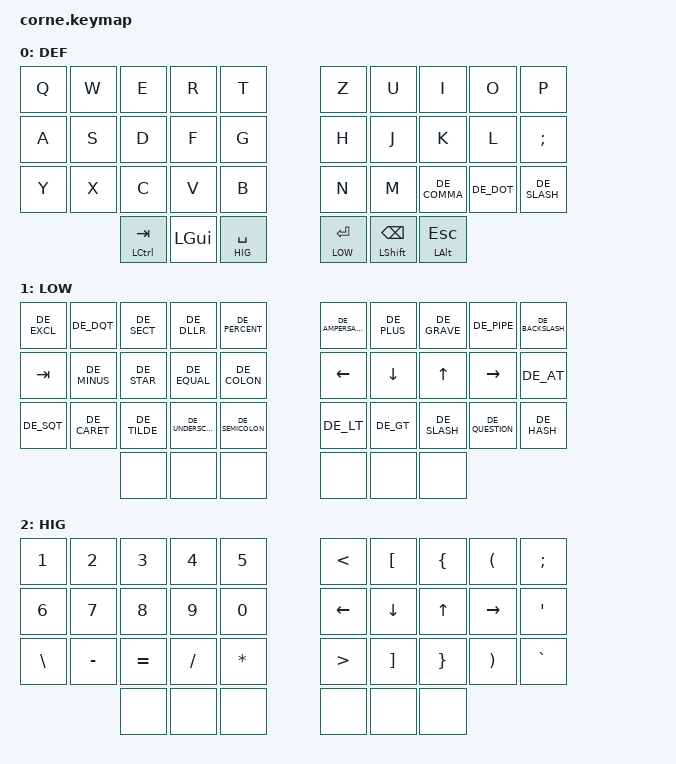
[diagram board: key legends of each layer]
#include <behaviors.dtsi>
#include <dt-bindings/zmk/keys.h>
#include <dt-bindings/zmk/hid_usage.h>
#include <dt-bindings/zmk/hid_usage_pages.h>
#include <dt-bindings/zmk/modifiers.h>

#define ___ &none
#define DEF 0
#define LOW 1
#define HIG 2

#define DE_ESCAPE_CHARACTER (LC(ZMK_HID_USAGE(HID_USAGE_KEY, HID_USAGE_KEY_KEYBOARD_LEFT_BRACKET_AND_LEFT_BRACE)))

#define DE_FILE_SEPARATOR (LC(ZMK_HID_USAGE(HID_USAGE_KEY, HID_USAGE_KEY_KEYBOARD_BACKSLASH_AND_PIPE)))

#define DE_GROUP_SEPARATOR (LC(ZMK_HID_USAGE(HID_USAGE_KEY, HID_USAGE_KEY_KEYBOARD_RIGHT_BRACKET_AND_RIGHT_BRACE)))

#define DE_SPACE (ZMK_HID_USAGE(HID_USAGE_KEY, HID_USAGE_KEY_KEYBOARD_SPACEBAR))

/* ! */
#define DE_EXCLAMATION (LS(ZMK_HID_USAGE(HID_USAGE_KEY, HID_USAGE_KEY_KEYBOARD_1_AND_EXCLAMATION)))
#define DE_EXCL (DE_EXCLAMATION)

/* " */
#define DE_DOUBLE_QUOTES (LS(ZMK_HID_USAGE(HID_USAGE_KEY, HID_USAGE_KEY_KEYBOARD_2_AND_AT)))
#define DE_DQT (DE_DOUBLE_QUOTES)

/* # */
#define DE_HASH (ZMK_HID_USAGE(HID_USAGE_KEY, HID_USAGE_KEY_KEYBOARD_BACKSLASH_AND_PIPE))
#define DE_POUND (DE_HASH)

/* $ */
#define DE_DOLLAR (LS(ZMK_HID_USAGE(HID_USAGE_KEY, HID_USAGE_KEY_KEYBOARD_4_AND_DOLLAR)))
#define DE_DLLR (DE_DOLLAR)

/* % */
#define DE_PERCENT (LS(ZMK_HID_USAGE(HID_USAGE_KEY, HID_USAGE_KEY_KEYBOARD_5_AND_PERCENT)))
#define DE_PRCNT (DE_PERCENT)

/* & */
#define DE_AMPERSAND (LS(ZMK_HID_USAGE(HID_USAGE_KEY, HID_USAGE_KEY_KEYBOARD_6_AND_CARET)))
#define DE_AMPS (DE_AMPERSAND)

/* ' */
#define DE_SINGLE_QUOTE (LS(ZMK_HID_USAGE(HID_USAGE_KEY, HID_USAGE_KEY_KEYBOARD_BACKSLASH_AND_PIPE)))
#define DE_SQT (DE_SINGLE_QUOTE)
#define DE_APOSTROPHE (DE_SINGLE_QUOTE)
#define DE_APOS (DE_SINGLE_QUOTE)

/* ( */
#define DE_LEFT_PARENTHESIS (LS(ZMK_HID_USAGE(HID_USAGE_KEY, HID_USAGE_KEY_KEYBOARD_8_AND_ASTERISK)))
#define DE_LPAR (DE_LEFT_PARENTHESIS)

/* ) */
#define DE_RIGHT_PARENTHESIS (LS(ZMK_HID_USAGE(HID_USAGE_KEY, HID_USAGE_KEY_KEYBOARD_9_AND_LEFT_PARENTHESIS)))
#define DE_RPAR (DE_RIGHT_PARENTHESIS)

/* * */
#define DE_ASTERISK (LS(ZMK_HID_USAGE(HID_USAGE_KEY, HID_USAGE_KEY_KEYBOARD_RIGHT_BRACKET_AND_RIGHT_BRACE)))
#define DE_ASTRK (DE_ASTERISK)
#define DE_STAR (DE_ASTERISK)

/* + */
#define DE_PLUS (ZMK_HID_USAGE(HID_USAGE_KEY, HID_USAGE_KEY_KEYBOARD_RIGHT_BRACKET_AND_RIGHT_BRACE))

/* , */
#define DE_COMMA (ZMK_HID_USAGE(HID_USAGE_KEY, HID_USAGE_KEY_KEYBOARD_COMMA_AND_LESS_THAN))

/* - */
#define DE_MINUS (ZMK_HID_USAGE(HID_USAGE_KEY, HID_USAGE_KEY_KEYBOARD_SLASH_AND_QUESTION_MARK))

/* . */
#define DE_PERIOD (ZMK_HID_USAGE(HID_USAGE_KEY, HID_USAGE_KEY_KEYBOARD_PERIOD_AND_GREATER_THAN))
#define DE_DOT (DE_PERIOD)

/* / */
#define DE_SLASH (LS(ZMK_HID_USAGE(HID_USAGE_KEY, HID_USAGE_KEY_KEYBOARD_7_AND_AMPERSAND)))
#define DE_FSLH (DE_SLASH)

/* 0 */
#define DE_N0 (ZMK_HID_USAGE(HID_USAGE_KEY, HID_USAGE_KEY_KEYBOARD_0_AND_RIGHT_PARENTHESIS))

/* 1 */
#define DE_N1 (ZMK_HID_USAGE(HID_USAGE_KEY, HID_USAGE_KEY_KEYBOARD_1_AND_EXCLAMATION))

/* 2 */
#define DE_N2 (ZMK_HID_USAGE(HID_USAGE_KEY, HID_USAGE_KEY_KEYBOARD_2_AND_AT))

/* 3 */
#define DE_N3 (ZMK_HID_USAGE(HID_USAGE_KEY, HID_USAGE_KEY_KEYBOARD_3_AND_HASH))

/* 4 */
#define DE_N4 (ZMK_HID_USAGE(HID_USAGE_KEY, HID_USAGE_KEY_KEYBOARD_4_AND_DOLLAR))

/* 5 */
#define DE_N5 (ZMK_HID_USAGE(HID_USAGE_KEY, HID_USAGE_KEY_KEYBOARD_5_AND_PERCENT))

/* 6 */
#define DE_N6 (ZMK_HID_USAGE(HID_USAGE_KEY, HID_USAGE_KEY_KEYBOARD_6_AND_CARET))

/* 7 */
#define DE_N7 (ZMK_HID_USAGE(HID_USAGE_KEY, HID_USAGE_KEY_KEYBOARD_7_AND_AMPERSAND))

/* 8 */
#define DE_N8 (ZMK_HID_USAGE(HID_USAGE_KEY, HID_USAGE_KEY_KEYBOARD_8_AND_ASTERISK))

/* 9 */
#define DE_N9 (ZMK_HID_USAGE(HID_USAGE_KEY, HID_USAGE_KEY_KEYBOARD_9_AND_LEFT_PARENTHESIS))

/* : */
#define DE_COLON (LS(ZMK_HID_USAGE(HID_USAGE_KEY, HID_USAGE_KEY_KEYBOARD_PERIOD_AND_GREATER_THAN)))

/* ; */
#define DE_SEMICOLON (LS(ZMK_HID_USAGE(HID_USAGE_KEY, HID_USAGE_KEY_KEYBOARD_COMMA_AND_LESS_THAN)))
#define DE_SEMI (DE_SEMICOLON)

/* < */
#define DE_LESS_THAN (ZMK_HID_USAGE(HID_USAGE_KEY, HID_USAGE_KEY_KEYBOARD_NON_US_BACKSLASH_AND_PIPE))
#define DE_LT (DE_LESS_THAN)

/* = */
#define DE_EQUAL (LS(ZMK_HID_USAGE(HID_USAGE_KEY, HID_USAGE_KEY_KEYBOARD_0_AND_RIGHT_PARENTHESIS)))

/* > */
#define DE_GREATER_THAN (LS(ZMK_HID_USAGE(HID_USAGE_KEY, HID_USAGE_KEY_KEYBOARD_NON_US_BACKSLASH_AND_PIPE)))
#define DE_GT (DE_GREATER_THAN)

/* ? */
#define DE_QUESTION (LS(ZMK_HID_USAGE(HID_USAGE_KEY, HID_USAGE_KEY_KEYBOARD_MINUS_AND_UNDERSCORE)))
#define DE_QMARK (DE_QUESTION)

/* @ */
#define DE_AT_SIGN (RA(ZMK_HID_USAGE(HID_USAGE_KEY, HID_USAGE_KEY_KEYBOARD_Q)))
#define DE_AT (DE_AT_SIGN)

/* [ */
#define DE_LEFT_BRACKET (RA(ZMK_HID_USAGE(HID_USAGE_KEY, HID_USAGE_KEY_KEYBOARD_8_AND_ASTERISK)))
#define DE_LBKT (DE_LEFT_BRACKET)

/* \ */
#define DE_BACKSLASH (RA(ZMK_HID_USAGE(HID_USAGE_KEY, HID_USAGE_KEY_KEYBOARD_MINUS_AND_UNDERSCORE)))
#define DE_BSLH (DE_BACKSLASH)

/* ] */
#define DE_RIGHT_BRACKET (RA(ZMK_HID_USAGE(HID_USAGE_KEY, HID_USAGE_KEY_KEYBOARD_9_AND_LEFT_PARENTHESIS)))
#define DE_RBKT (DE_RIGHT_BRACKET)

/* ^ */
#define DE_CARET (ZMK_HID_USAGE(HID_USAGE_KEY, HID_USAGE_KEY_KEYBOARD_GRAVE_ACCENT_AND_TILDE))

/* _ */
#define DE_UNDERSCORE (LS(ZMK_HID_USAGE(HID_USAGE_KEY, HID_USAGE_KEY_KEYBOARD_SLASH_AND_QUESTION_MARK)))
#define DE_UNDER (DE_UNDERSCORE)

/* ` */
#define DE_GRAVE (LS(ZMK_HID_USAGE(HID_USAGE_KEY, HID_USAGE_KEY_KEYBOARD_EQUAL_AND_PLUS)))

/* a */
#define DE_A (ZMK_HID_USAGE(HID_USAGE_KEY, HID_USAGE_KEY_KEYBOARD_A))

/* b */
#define DE_B (ZMK_HID_USAGE(HID_USAGE_KEY, HID_USAGE_KEY_KEYBOARD_B))

/* c */
#define DE_C (ZMK_HID_USAGE(HID_USAGE_KEY, HID_USAGE_KEY_KEYBOARD_C))

/* d */
#define DE_D (ZMK_HID_USAGE(HID_USAGE_KEY, HID_USAGE_KEY_KEYBOARD_D))

/* e */
#define DE_E (ZMK_HID_USAGE(HID_USAGE_KEY, HID_USAGE_KEY_KEYBOARD_E))

/* f */
#define DE_F (ZMK_HID_USAGE(HID_USAGE_KEY, HID_USAGE_KEY_KEYBOARD_F))

/* g */
#define DE_G (ZMK_HID_USAGE(HID_USAGE_KEY, HID_USAGE_KEY_KEYBOARD_G))

/* h */
#define DE_H (ZMK_HID_USAGE(HID_USAGE_KEY, HID_USAGE_KEY_KEYBOARD_H))

/* i */
#define DE_I (ZMK_HID_USAGE(HID_USAGE_KEY, HID_USAGE_KEY_KEYBOARD_I))

/* j */
#define DE_J (ZMK_HID_USAGE(HID_USAGE_KEY, HID_USAGE_KEY_KEYBOARD_J))

/* k */
#define DE_K (ZMK_HID_USAGE(HID_USAGE_KEY, HID_USAGE_KEY_KEYBOARD_K))

/* l */
#define DE_L (ZMK_HID_USAGE(HID_USAGE_KEY, HID_USAGE_KEY_KEYBOARD_L))

/* m */
#define DE_M (ZMK_HID_USAGE(HID_USAGE_KEY, HID_USAGE_KEY_KEYBOARD_M))

/* n */
#define DE_N (ZMK_HID_USAGE(HID_USAGE_KEY, HID_USAGE_KEY_KEYBOARD_N))

/* o */
#define DE_O (ZMK_HID_USAGE(HID_USAGE_KEY, HID_USAGE_KEY_KEYBOARD_O))

/* p */
#define DE_P (ZMK_HID_USAGE(HID_USAGE_KEY, HID_USAGE_KEY_KEYBOARD_P))

/* q */
#define DE_Q (ZMK_HID_USAGE(HID_USAGE_KEY, HID_USAGE_KEY_KEYBOARD_Q))

/* r */
#define DE_R (ZMK_HID_USAGE(HID_USAGE_KEY, HID_USAGE_KEY_KEYBOARD_R))

/* s */
#define DE_S (ZMK_HID_USAGE(HID_USAGE_KEY, HID_USAGE_KEY_KEYBOARD_S))

/* t */
#define DE_T (ZMK_HID_USAGE(HID_USAGE_KEY, HID_USAGE_KEY_KEYBOARD_T))

/* u */
#define DE_U (ZMK_HID_USAGE(HID_USAGE_KEY, HID_USAGE_KEY_KEYBOARD_U))

/* v */
#define DE_V (ZMK_HID_USAGE(HID_USAGE_KEY, HID_USAGE_KEY_KEYBOARD_V))

/* w */
#define DE_W (ZMK_HID_USAGE(HID_USAGE_KEY, HID_USAGE_KEY_KEYBOARD_W))

/* x */
#define DE_X (ZMK_HID_USAGE(HID_USAGE_KEY, HID_USAGE_KEY_KEYBOARD_X))

/* y */
#define DE_Y (ZMK_HID_USAGE(HID_USAGE_KEY, HID_USAGE_KEY_KEYBOARD_Z))

/* z */
#define DE_Z (ZMK_HID_USAGE(HID_USAGE_KEY, HID_USAGE_KEY_KEYBOARD_Y))

/* { */
#define DE_LEFT_BRACE (RA(ZMK_HID_USAGE(HID_USAGE_KEY, HID_USAGE_KEY_KEYBOARD_7_AND_AMPERSAND)))
#define DE_LBRC (DE_LEFT_BRACE)

/* | */
#define DE_PIPE (RA(ZMK_HID_USAGE(HID_USAGE_KEY, HID_USAGE_KEY_KEYBOARD_NON_US_BACKSLASH_AND_PIPE)))

/* } */
#define DE_RIGHT_BRACE (RA(ZMK_HID_USAGE(HID_USAGE_KEY, HID_USAGE_KEY_KEYBOARD_0_AND_RIGHT_PARENTHESIS)))
#define DE_RBRC (DE_RIGHT_BRACE)

/* ~ */
#define DE_TILDE (RA(ZMK_HID_USAGE(HID_USAGE_KEY, HID_USAGE_KEY_KEYBOARD_RIGHT_BRACKET_AND_RIGHT_BRACE)))

/* § */
#define DE_SECTION (LS(ZMK_HID_USAGE(HID_USAGE_KEY, HID_USAGE_KEY_KEYBOARD_3_AND_HASH)))
#define DE_SECT (DE_SECTION)

/* ° */
#define DE_DEGREE (LS(ZMK_HID_USAGE(HID_USAGE_KEY, HID_USAGE_KEY_KEYBOARD_GRAVE_ACCENT_AND_TILDE)))
#define DE_DEG (DE_DEGREE)

/* ² */
#define DE_SUPER2 (RA(ZMK_HID_USAGE(HID_USAGE_KEY, HID_USAGE_KEY_KEYBOARD_2_AND_AT)))
#define DE_SQUARE (DE_SUPER2)

/* ³ */
#define DE_SUPER3 (RA(ZMK_HID_USAGE(HID_USAGE_KEY, HID_USAGE_KEY_KEYBOARD_3_AND_HASH)))
#define DE_CUBE (DE_SUPER3)

/* ´ */
#define DE_ACUTE (ZMK_HID_USAGE(HID_USAGE_KEY, HID_USAGE_KEY_KEYBOARD_EQUAL_AND_PLUS))

/* µ */
#define DE_MU (RA(ZMK_HID_USAGE(HID_USAGE_KEY, HID_USAGE_KEY_KEYBOARD_M)))
#define DE_MICRO (DE_MU)

/* ß */
#define DE_SHARP_S (ZMK_HID_USAGE(HID_USAGE_KEY, HID_USAGE_KEY_KEYBOARD_MINUS_AND_UNDERSCORE))
#define DE_ESZETT (DE_SHARP_S)
#define DE_SZ (DE_SHARP_S)

/* ẞ */
#define DE_CAPITAL_SHARP_S (RA(LS(ZMK_HID_USAGE(HID_USAGE_KEY, HID_USAGE_KEY_KEYBOARD_MINUS_AND_UNDERSCORE))))
#define DE_CAPITAL_ESZETT (DE_CAPITAL_SHARP_S)
#define DE_CAPITAL_SZ (DE_CAPITAL_SHARP_S)

/* ä */
#define DE_A_UMLAUT (ZMK_HID_USAGE(HID_USAGE_KEY, HID_USAGE_KEY_KEYBOARD_APOSTROPHE_AND_QUOTE))

/* ö */
#define DE_O_UMLAUT (ZMK_HID_USAGE(HID_USAGE_KEY, HID_USAGE_KEY_KEYBOARD_SEMICOLON_AND_COLON))

/* ü */
#define DE_U_UMLAUT (ZMK_HID_USAGE(HID_USAGE_KEY, HID_USAGE_KEY_KEYBOARD_LEFT_BRACKET_AND_LEFT_BRACE))

/* € */
#define DE_EURO (RA(ZMK_HID_USAGE(HID_USAGE_KEY, HID_USAGE_KEY_KEYBOARD_E)))

&mt {
        tapping-term-ms = <400>;
        quick-tap-ms = <175>;
        require-prior-idle-ms = <150>;
        flavor = "balanced";
};

/ {
        chosen {
                zmk,matrix_transform = &five_column_transform;
        };

        combos {
                compatible = "zmk,combos";

                combo_esc {
                        timeout-ms = <50>;
                        key-positions = <1 2 3>;
                        bindings = <&kp ESCAPE>;
                };

                combo_bksp {
                        timeout-ms = <50>;
                        key-positions = <10 9 8>;
                        bindings = <&kp BACKSPACE>;
                };

                combo_tab {
                        bindings = <&kp TAB>;
                        key-positions = <13 14 15>;
                };

                combo_shift {
                        bindings = <&kp LEFT_SHIFT>;
                        key-positions = <25 26 27>;
                };

                combo_delete {
                        bindings = <&kp DELETE>;
                        key-positions = <21 22 20>;
                };

                combo_rshift {
                        bindings = <&kp RIGHT_SHIFT>;
                        key-positions = <33 34 32>;
                };

                exclm {
                        bindings = <&kp DE_EXCLAMATION>;
                        key-positions = <1 13>;
                };

                at {
                        bindings = <&kp DE_AT>;
                        key-positions = <2 14>;
                };

                hash {
                        bindings = <&kp DE_HASH>;
                        key-positions = <3 15>;
                };

                dllr {
                        bindings = <&kp DE_DOLLAR>;
                        key-positions = <4 16>;
                };

                percnt {
                        bindings = <&kp DE_PERCENT>;
                        key-positions = <5 17>;
                };

                caret {
                        bindings = <&kp DE_CARET>;
                        key-positions = <6 18>;
                };

                and {
                        bindings = <&kp DE_AMPERSAND>;
                        key-positions = <7 19>;
                };

                str {
                        bindings = <&kp DE_ASTERISK>;
                        key-positions = <8 20>;
                };

                leftparen {
                        bindings = <&kp DE_LPAR>;
                        key-positions = <9 21>;
                };

                rparen {
                        bindings = <&kp DE_RPAR>;
                        key-positions = <10 22>;
                };

                system_reset {
                        bindings = <&sys_reset>;
                        key-positions = <3 4 5 14>;
                };

                bootloader {
                        bindings = <&bootloader>;
                        key-positions = <15 16 17 26>;
                };
        };

        conditional_layers { compatible = "zmk,conditional-layers";};

        macros {
                macro_nice_tutorial: macro_nice_tutorial {
                        compatible = "zmk,behavior-macro";
                        #binding-cells = <0>;
                        tap-ms = <1>;
                        bindings 
                                = <&macro_press &kp LSHFT>
                                , <&macro_tap &kp RET>
                                , <&macro_release &kp LSHFT>
                                , <&macro_tap &kp DE_N &kp DE_I &kp DE_C &kp DE_E &kp DE_SPACE &kp DE_T &kp DE_U &kp DE_T &kp DE_O &kp DE_R &kp DE_I &kp DE_A &kp DE_L &kp RET>
                                ;
                };

                macro_gg: macro_gg {
                        compatible = "zmk,behavior-macro";
                        #binding-cells = <0>;
                        tap-ms = <1>;
                        bindings 
                                = <&macro_press &kp LSHFT>
                                , <&macro_tap &kp RET>
                                , <&macro_release &kp LSHFT>
                                , <&macro_tap &kp G &kp G &kp SPACE &kp W &kp P &kp RET>
                                ;
                };

                macro_ez: macro_ez {
                        compatible = "zmk,behavior-macro";
                        #binding-cells = <0>;
                        tap-ms = <1>;
                        bindings
                                = <&macro_press &kp LSHFT>
                                , <&macro_tap &kp RET>
                                , <&macro_release &kp LSHFT>
                                , <&macro_tap &kp E &kp Z &kp RET>
                                ;
                };

                macro_ff: macro_ff {
                        compatible = "zmk,behavior-macro";
                        #binding-cells = <0>;
                        tap-ms = <1>;
                        bindings
                                = <&macro_press &kp LSHFT>
                                , <&macro_tap &kp RET>
                                , <&macro_release &kp LSHFT>
                                , <&macro_tap &kp F &kp F &kp RET>
                                ;
                };

                macro_send_nudes: macro_send_nudes {
                        compatible = "zmk,behavior-macro";
                        #binding-cells = <0>;
                        tap-ms = <1>;
                        bindings
                                = <&macro_press &kp LSHFT>
                                , <&macro_tap &kp RET>
                                , <&macro_release &kp LSHFT>
                                , <&macro_tap &kp SLASH>
                                , <&macro_press &kp LSHFT>
                                , <&macro_tap &kp R>
                                , <&macro_release &kp LSHFT>
                                , <&macro_tap &kp SPACE>
                                , <&macro_tap &kp S &kp O &kp R &kp R &kp Y>
                                , <&macro_tap &kp SPACE>
                                , <&macro_tap &kp B &kp A &kp B &kp E>
                                , <&macro_tap &kp SPACE>
                                , <&macro_tap &kp S &kp E &kp N &kp D>
                                , <&macro_tap &kp SPACE>
                                , <&macro_tap &kp N &kp U &kp D &kp E &kp S>
                                , <&macro_tap &kp SPACE>
                                , <&macro_tap &kp L &kp A &kp T &kp E &kp R>
                                , <&macro_tap &kp SPACE>
                                , <&macro_tap &kp P &kp L &kp S>
                                , <&macro_tap &kp RET>
                                ;
                };
        };

        keymap {
                compatible = "zmk,keymap";

                def_layer {
                        display-name = "DEF";
                        bindings = <
                                &kp Q &kp W &kp E &kp R &kp T &kp Z &kp U &kp I &kp O &kp P
                                &kp A &kp S &kp D &kp F &kp G &kp H &kp J &kp K &kp L &kp SEMI
                                &kp Y &kp X &kp C &kp V &kp B &kp N &kp M &kp DE_COMMA &kp DE_DOT &kp DE_SLASH
                                &mt LCTRL TAB &kp LEFT_GUI &lt HIG SPACE &lt LOW RET &mt LEFT_SHIFT BACKSPACE &mt LEFT_ALT ESC
                        >;
                };

                low_layer {
                        display-name = "LOW";
                        bindings = <
                                &kp DE_EXCL &kp DE_DQT &kp DE_SECT &kp DE_DLLR &kp DE_PERCENT &kp DE_AMPERSAND &kp DE_PLUS &kp DE_GRAVE &kp DE_PIPE &kp DE_BACKSLASH
                                &kp TAB &kp DE_MINUS &kp DE_STAR &kp DE_EQUAL &kp DE_COLON &kp LEFT &kp DOWN &kp UP &kp RIGHT &kp DE_AT
                                &kp DE_SQT &kp DE_CARET &kp DE_TILDE &kp DE_UNDERSCORE &kp DE_SEMICOLON &kp DE_LT &kp DE_GT  &kp DE_SLASH &kp DE_QUESTION &kp DE_HASH 
                                ___ ___ ___ ___ ___ ___
                        >;
                };

                // &kp DE_A_UMLAUT &kp DE_U_UMLAUT &kp DE_O_UMLAUT &kp DE_EURO &kp DE_SZ

                hig_layer {
                        display-name = "HIG";
                        bindings = <
                                &kp N1 &kp N2 &kp N3 &kp N4 &kp N5 &kp LESS_THAN &kp LEFT_BRACKET &kp LEFT_BRACE &kp LEFT_PARENTHESIS &kp SEMICOLON
                                &kp N6 &kp N7 &kp N8 &kp N9 &kp N0 &kp LEFT &kp DOWN &kp UP &kp RIGHT &kp SQT
                                &kp BACKSLASH &kp MINUS &kp EQUAL &kp SLASH &kp ASTERISK &kp GREATER_THAN &kp RIGHT_BRACKET &kp RIGHT_BRACE &kp RIGHT_PARENTHESIS &kp GRAVE
                                ___ ___ ___ ___ ___ ___
                        >;
                };
        };
};
